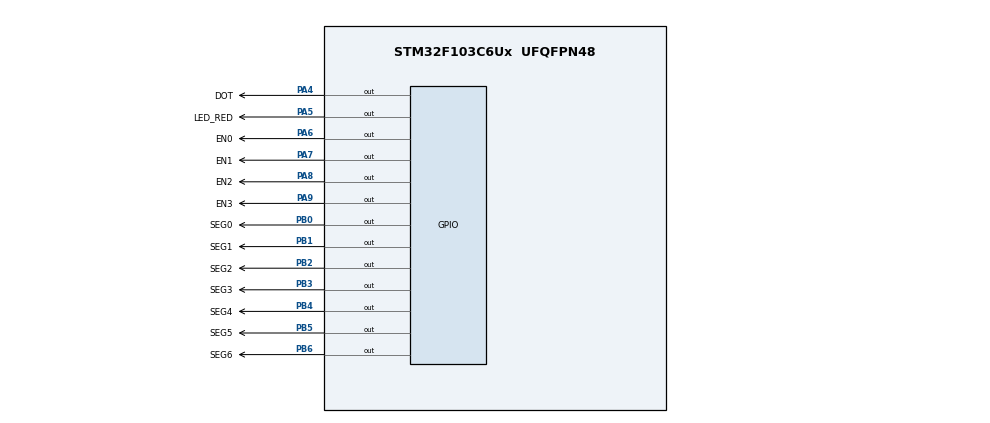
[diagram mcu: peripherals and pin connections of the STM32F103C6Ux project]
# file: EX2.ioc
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Mcu.Family=STM32F1
Mcu.Name=STM32F103C6Ux
Mcu.Package=UFQFPN48
NVIC.PriorityGroup=NVIC_PRIORITYGROUP_4
NVIC.TIM2_IRQn=true\:0\:0\:false\:false\:true\:true\:true
PA4.GPIO_Label=DOT
PA4.Signal=GPIO_Output
PA5.GPIO_Label=LED_RED
PA5.Signal=GPIO_Output
PA6.GPIO_Label=EN0
PA6.Signal=GPIO_Output
PA7.GPIO_Label=EN1
PA7.Signal=GPIO_Output
PA8.GPIO_Label=EN2
PA8.Signal=GPIO_Output
PA9.GPIO_Label=EN3
PA9.Signal=GPIO_Output
PB0.GPIO_Label=SEG0
PB0.Signal=GPIO_Output
PB1.GPIO_Label=SEG1
PB1.Signal=GPIO_Output
PB2.GPIO_Label=SEG2
PB2.Signal=GPIO_Output
PB3.GPIO_Label=SEG3
PB3.Signal=GPIO_Output
PB4.GPIO_Label=SEG4
PB4.Signal=GPIO_Output
PB5.GPIO_Label=SEG5
PB5.Signal=GPIO_Output
PB6.GPIO_Label=SEG6
PB6.Signal=GPIO_Output
ProjectManager.HeapSize=0x200
ProjectManager.StackSize=0x400
ProjectManager.TargetToolchain=STM32CubeIDE
RCC.APB1Freq_Value=8000000
RCC.APB2Freq_Value=8000000
TIM2.Period=9
TIM2.Prescaler=7999
VP_SYS_VS_ND.Mode=No_Debug
VP_TIM2_VS_ClockSourceINT.Mode=Internal
board=custom

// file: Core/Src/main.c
/* USER CODE BEGIN Header */
/**
  ******************************************************************************
  * @file           : main.c
  * @brief          : Main program body
  ******************************************************************************
  * @attention
  *
  * <h2><center>&copy; Copyright (c) 2022 STMicroelectronics.
  * All rights reserved.</center></h2>
  *
  * This software component is licensed by ST under BSD 3-Clause license,
  * the "License"; You may not use this file except in compliance with the
  * License. You may obtain a copy of the License at:
  *                        opensource.org/licenses/BSD-3-Clause
  *
  ******************************************************************************
  */
/* USER CODE END Header */
#include "main.h"

TIM_HandleTypeDef htim2;

void SystemClock_Config(void);
static void MX_GPIO_Init(void);
static void MX_TIM2_Init(void);

int main(void)
{

  /* MCU Configuration--------------------------------------------------------*/

  /* Reset of all peripherals, Initializes the Flash interface and the Systick. */
  HAL_Init();

  /* Configure the system clock */
  SystemClock_Config();

  /* Initialize all configured peripherals */
  MX_GPIO_Init();
  MX_TIM2_Init();
  /* USER CODE BEGIN 2 */
  HAL_TIM_Base_Start_IT (& htim2 ) ;
  /* USER CODE END 2 */

  /* Infinite loop */
  while (1)
  {

  }
}

void SystemClock_Config(void)
{
  RCC_OscInitTypeDef RCC_OscInitStruct = {0};
  RCC_ClkInitTypeDef RCC_ClkInitStruct = {0};

  /** Initializes the RCC Oscillators according to the specified parameters
  * in the RCC_OscInitTypeDef structure.
  */
  RCC_OscInitStruct.OscillatorType = RCC_OSCILLATORTYPE_HSI;
  RCC_OscInitStruct.HSIState = RCC_HSI_ON;
  RCC_OscInitStruct.HSICalibrationValue = RCC_HSICALIBRATION_DEFAULT;
  RCC_OscInitStruct.PLL.PLLState = RCC_PLL_NONE;
  if (HAL_RCC_OscConfig(&RCC_OscInitStruct) != HAL_OK)
  {
    Error_Handler();
  }
  /** Initializes the CPU, AHB and APB buses clocks
  */
  RCC_ClkInitStruct.ClockType = RCC_CLOCKTYPE_HCLK|RCC_CLOCKTYPE_SYSCLK
                              |RCC_CLOCKTYPE_PCLK1|RCC_CLOCKTYPE_PCLK2;
  RCC_ClkInitStruct.SYSCLKSource = RCC_SYSCLKSOURCE_HSI;
  RCC_ClkInitStruct.AHBCLKDivider = RCC_SYSCLK_DIV1;
  RCC_ClkInitStruct.APB1CLKDivider = RCC_HCLK_DIV1;
  RCC_ClkInitStruct.APB2CLKDivider = RCC_HCLK_DIV1;

  if (HAL_RCC_ClockConfig(&RCC_ClkInitStruct, FLASH_LATENCY_0) != HAL_OK)
  {
    Error_Handler();
  }
}

static void MX_TIM2_Init(void)
{

  TIM_ClockConfigTypeDef sClockSourceConfig = {0};
  TIM_MasterConfigTypeDef sMasterConfig = {0};

  htim2.Instance = TIM2;
  htim2.Init.Prescaler = 7999;
  htim2.Init.CounterMode = TIM_COUNTERMODE_UP;
  htim2.Init.Period = 9;
  htim2.Init.ClockDivision = TIM_CLOCKDIVISION_DIV1;
  htim2.Init.AutoReloadPreload = TIM_AUTORELOAD_PRELOAD_DISABLE;
  if (HAL_TIM_Base_Init(&htim2) != HAL_OK)
  {
    Error_Handler();
  }
  sClockSourceConfig.ClockSource = TIM_CLOCKSOURCE_INTERNAL;
  if (HAL_TIM_ConfigClockSource(&htim2, &sClockSourceConfig) != HAL_OK)
  {
    Error_Handler();
  }
  sMasterConfig.MasterOutputTrigger = TIM_TRGO_RESET;
  sMasterConfig.MasterSlaveMode = TIM_MASTERSLAVEMODE_DISABLE;
  if (HAL_TIMEx_MasterConfigSynchronization(&htim2, &sMasterConfig) != HAL_OK)
  {
    Error_Handler();
  }

}

static void MX_GPIO_Init(void)
{
  GPIO_InitTypeDef GPIO_InitStruct = {0};

  /* GPIO Ports Clock Enable */
  __HAL_RCC_GPIOA_CLK_ENABLE();
  __HAL_RCC_GPIOB_CLK_ENABLE();

  /*Configure GPIO pin Output Level */
  HAL_GPIO_WritePin(GPIOA, DOT_Pin|LED_RED_Pin|EN0_Pin|EN1_Pin
                          |EN2_Pin|EN3_Pin, GPIO_PIN_RESET);

  /*Configure GPIO pin Output Level */
  HAL_GPIO_WritePin(GPIOB, SEG0_Pin|SEG1_Pin|SEG2_Pin|SEG3_Pin
                          |SEG4_Pin|SEG5_Pin|SEG6_Pin, GPIO_PIN_RESET);

  /*Configure GPIO pins : DOT_Pin LED_RED_Pin EN0_Pin EN1_Pin
                           EN2_Pin EN3_Pin */
  GPIO_InitStruct.Pin = DOT_Pin|LED_RED_Pin|EN0_Pin|EN1_Pin
                          |EN2_Pin|EN3_Pin;
  GPIO_InitStruct.Mode = GPIO_MODE_OUTPUT_PP;
  GPIO_InitStruct.Pull = GPIO_NOPULL;
  GPIO_InitStruct.Speed = GPIO_SPEED_FREQ_LOW;
  HAL_GPIO_Init(GPIOA, &GPIO_InitStruct);

  /*Configure GPIO pins : SEG0_Pin SEG1_Pin SEG2_Pin SEG3_Pin
                           SEG4_Pin SEG5_Pin SEG6_Pin */
  GPIO_InitStruct.Pin = SEG0_Pin|SEG1_Pin|SEG2_Pin|SEG3_Pin
                          |SEG4_Pin|SEG5_Pin|SEG6_Pin;
  GPIO_InitStruct.Mode = GPIO_MODE_OUTPUT_PP;
  GPIO_InitStruct.Pull = GPIO_NOPULL;
  GPIO_InitStruct.Speed = GPIO_SPEED_FREQ_LOW;
  HAL_GPIO_Init(GPIOB, &GPIO_InitStruct);

}

/* USER CODE BEGIN 4 */
void display7SEG(int count){
	  // ma hex display7Seg cua 0 den 10
	  int16_t array[10]={
			0x40,	//0
			0x79,	//1
			0x24,	//2
			0x30,	//3
			0x68,	//4
			0x79,	//5
			0x4,	//6
			0x71,	//7
			0x0,	//8
			0x20	//9
	  };
	  //day gia tri ma hex cua so can hien thi vao thanh ghi
	  GPIOB->ODR=array[count];
}
//counter1 set thoi gian cho led
int counter1=100;
//counter2 set thoi gian cho led7segment
int counter2=50;
//set trang thai cho led va led7segment
int state_led=0;
int state_led7segment=1;
void HAL_TIM_PeriodElapsedCallback ( TIM_HandleTypeDef * htim ){
		counter1--;
		counter2--;
		if(counter1<=0){
			//set thoi gian cho led
			counter1=100;
			if(state_led==0){
				//led1 bat; led2 tat
				HAL_GPIO_WritePin(DOT_GPIO_Port, DOT_Pin, 0);
				HAL_GPIO_WritePin(LED_RED_GPIO_Port, LED_RED_Pin, 1);
			}
			if(state_led==1){
				//led1 tat; led2 bat
					HAL_GPIO_WritePin(DOT_GPIO_Port, DOT_Pin, 1);
					HAL_GPIO_WritePin(LED_RED_GPIO_Port, LED_RED_Pin, 0);
			}
			//set lai gia tri cho state_led
			state_led=1-state_led;
		}
		if(counter2<=0){
			//set thoi gian cho led7segment
			counter2=50;
			if(state_led7segment==0){
				//led7segment1: bat; led7segment2,3,4:tat
				HAL_GPIO_WritePin(EN0_GPIO_Port, EN0_Pin, 0);
				HAL_GPIO_WritePin(EN1_GPIO_Port, EN1_Pin, 1);
				HAL_GPIO_WritePin(EN2_GPIO_Port, EN2_Pin, 1);
				HAL_GPIO_WritePin(EN3_GPIO_Port, EN3_Pin, 1);
				display7SEG(1);
			}
			if(state_led7segment==1){
				//led7segment2: bat; led7segment1,3,4:tat
				HAL_GPIO_WritePin(EN0_GPIO_Port, EN0_Pin, 1);
				HAL_GPIO_WritePin(EN1_GPIO_Port, EN1_Pin, 0);
				HAL_GPIO_WritePin(EN2_GPIO_Port, EN2_Pin, 1);
				HAL_GPIO_WritePin(EN3_GPIO_Port, EN3_Pin, 1);
				display7SEG(2);
			}
			if(state_led7segment==2){
				//led7segment3: bat; led7segment1,2,4:tat
				HAL_GPIO_WritePin(EN0_GPIO_Port, EN0_Pin, 1);
				HAL_GPIO_WritePin(EN1_GPIO_Port, EN1_Pin, 1);
				HAL_GPIO_WritePin(EN2_GPIO_Port, EN2_Pin, 0);
				HAL_GPIO_WritePin(EN3_GPIO_Port, EN3_Pin, 1);
				display7SEG(3);
			}
			if(state_led7segment==3){
				//led7segment4: bat; led7segment1,2,3:tat
				HAL_GPIO_WritePin(EN0_GPIO_Port, EN0_Pin, 1);
				HAL_GPIO_WritePin(EN1_GPIO_Port, EN1_Pin, 1);
				HAL_GPIO_WritePin(EN2_GPIO_Port, EN2_Pin, 1);
				HAL_GPIO_WritePin(EN3_GPIO_Port, EN3_Pin, 0);
				display7SEG(0);
			}
			state_led7segment++;
			//set lai gia tri cho state_led7segment
			if(state_led7segment>=4) state_led7segment=0;
		}
}
/* USER CODE END 4 */

void Error_Handler(void)
{
  __disable_irq();
  while (1)
  {
  }
}

/************************ (C) COPYRIGHT STMicroelectronics *****END OF FILE****/
